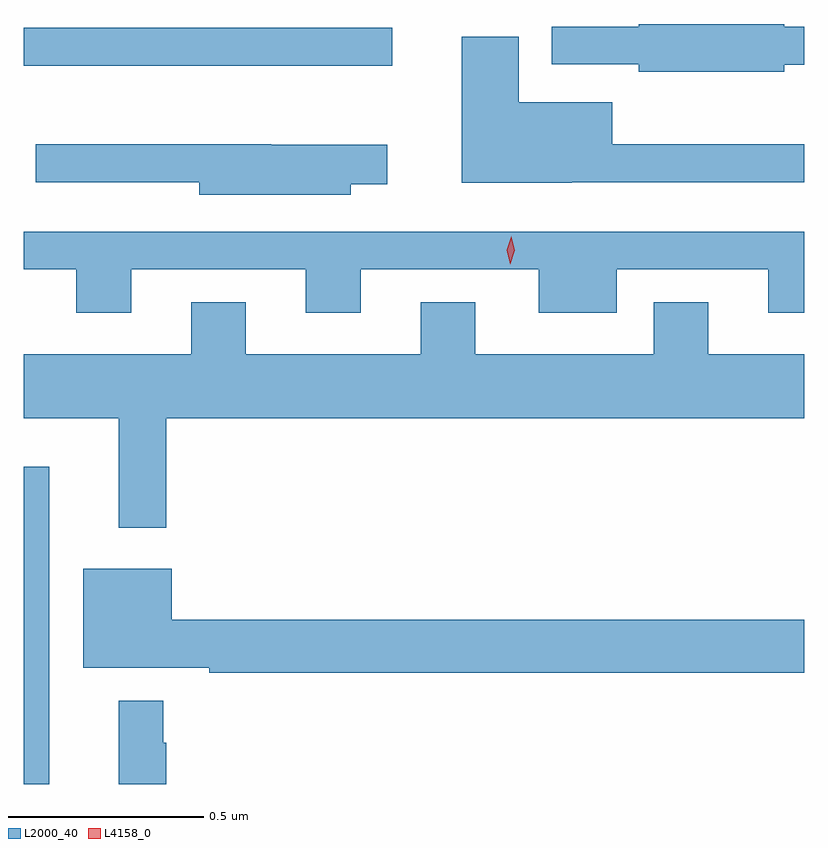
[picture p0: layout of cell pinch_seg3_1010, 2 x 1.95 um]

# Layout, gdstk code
import gdstk
lib = gdstk.Library(unit=1e-6, precision=1e-09)
def R(c, l, rs):  # rectangles x0, y0, x1, y1
    for r in rs: c.add(gdstk.rectangle(r[:2], r[2:], *l))
def P(c, l, *ps):  # polygons
    for p in ps: c.add(gdstk.Polygon(p, *l))
L2000_40 = (2000, 40)
L4158_0 = (4158, 0)

pinch_seg3_1010 = lib.new_cell('pinch_seg3_1010')
R(pinch_seg3_1010, L2000_40, [(413.522,682.663,413.587,683.476), (413.522,684.503,414.466,684.6)])
P(pinch_seg3_1010, L2000_40, [(415.47,684.506),(415.522,684.506),(415.522,684.603),(415.47,684.603),(415.47,684.61),(415.098,684.61),(415.098,684.603),(414.875,684.603),(414.875,684.507),(415.098,684.507),(415.098,684.488),(415.47,684.488)],
  [(414.926,684.204),(415.522,684.204),(415.522,684.302),(415.03,684.302),(415.03,684.409),(414.79,684.409),(414.79,684.577),(414.644,684.577),(414.644,684.203),(414.926,684.203)],
  [(414.36,684.2),(414.454,684.2),(414.454,684.301),(414.156,684.301),(414.156,684.302),(413.553,684.302),(413.553,684.204),(413.972,684.204),(413.972,684.173),(414.36,684.173)],
  [(413.797,683.982),(414.245,683.982),(414.245,683.87),(414.385,683.87),(414.385,683.982),(414.842,683.982),(414.842,683.87),(415.042,683.87),(415.042,683.982),(415.43,683.982),(415.43,683.87),(415.522,683.87),(415.522,684.078),(413.522,684.078),(413.522,683.982),(413.657,683.982),(413.657,683.87),(413.797,683.87)],
  [(413.887,683.6),(415.522,683.6),(415.522,683.764),(415.276,683.764),(415.276,683.897),(415.136,683.897),(415.136,683.764),(414.679,683.764),(414.679,683.897),(414.539,683.897),(414.539,683.764),(414.091,683.764),(414.091,683.897),(413.951,683.897),(413.951,683.764),(413.522,683.764),(413.522,683.6),(413.765,683.6),(413.765,683.319),(413.887,683.319)],
  [(415.522,683.084),(413.902,683.084),(413.902,683.215),(413.675,683.215),(413.675,682.961),(413.998,682.961),(413.998,682.948),(415.522,682.948)],
  [(413.887,682.769),(413.88,682.769),(413.88,682.876),(413.765,682.876),(413.765,682.663),(413.887,682.663)])
P(pinch_seg3_1010, L4158_0, [(414.768,683.995),(414.768,683.995),(414.759,684.03),(414.771,684.065),(414.771,684.066),(414.771,684.065),(414.78,684.03),(414.768,683.995)])

lib.write_gds('pinch_seg3_1010.gds')
